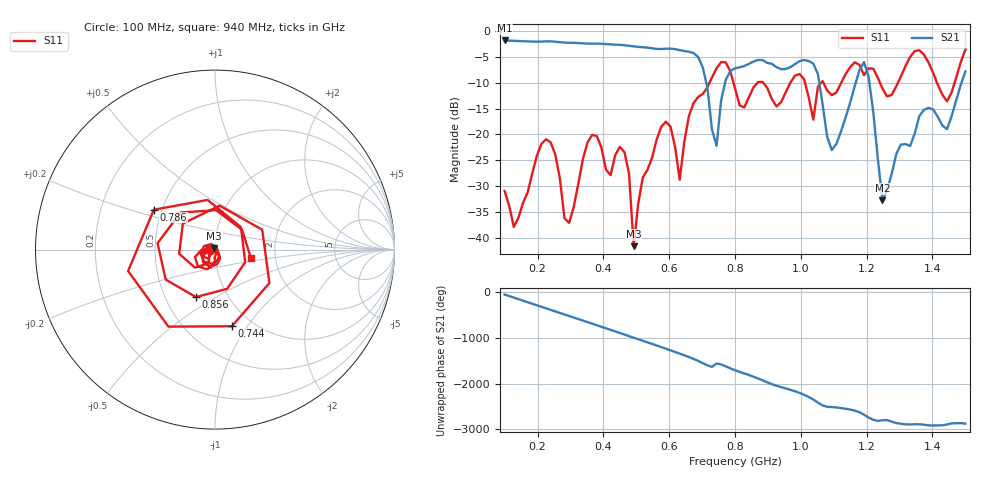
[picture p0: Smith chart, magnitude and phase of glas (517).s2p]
! NanoVNA-App
! Date: 2025-09-25 15:59:30
! Start: 100MHz Stop: 1,5GHz Points: 101
! S-Parameter data: F S11 S21 S12 S22
# Hz S RI R 50
!  Frequency  S11_Real  S11_Imag  S21_Real  S21_Imag  S12_Real  S12_Imag  S22_Real  S22_Imag
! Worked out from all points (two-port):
!   101 points, 100 MHz to 1.5 GHz, reference 50 ohm
!   highest |S21| = -1.80 dB at 100 MHz (marker M1); lowest = -32.8 dB at 1.248 GHz (marker M2)
!   |S21| within 3 dB of the highest: start of sweep to 684.3 MHz
!   lowest |S11| = -41.6 dB at 492 MHz (marker M3), VSWR 1.02, Z = 49.5 + j0.638 ohm
!   |S11| at or under -10 dB: start of sweep to 722.5 MHz; 795.4 MHz to 868.1 MHz (72.64 MHz wide, 8.73 % of centre); 885.9 MHz to 968 MHz (82.05 MHz wide, 8.85 % of centre) (the widest 3 of 7)
!   S12 and S22 are empty: the file has one direction only
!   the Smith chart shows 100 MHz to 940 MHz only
!   S11 on the Smith chart (normalised r, x): 100 MHz: 0.95, -0.01; 744 MHz: 0.81, -0.85; 786 MHz: 0.45, +0.24; 856 MHz: 0.71, -0.41; 940 MHz: 1.49, -0.14
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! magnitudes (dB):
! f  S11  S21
! 100 MHz  -30.9  -1.8
! 128 MHz  -37.9  -1.9
! 226 MHz  -20.9  -2.0
! 296 MHz  -37.1  -2.2
! 338 MHz  -24.7  -2.4
! 464 MHz  -23.4  -2.7
! 492 MHz  -41.6  -3.0
! 576 MHz  -18.5  -3.5
! 632 MHz  -28.8  -3.7
! 702 MHz  -12.2  -7.0
! 744 MHz  -7.2  -22.2
! 786 MHz  -7.8  -7.7
! 800 MHz  -11.1  -7.2
! 856 MHz  -10.9  -5.9
! 940 MHz  -13.8  -7.4
! 1.038 GHz  -17.1  -6.3
! 1.094 GHz  -12.4  -23.0
! 1.192 GHz  -8.5  -6.0
! 1.248 GHz  -11.1  -32.8
! 1.276 GHz  -12.3  -27.7
! 1.444 GHz  -13.6  -19.0
! 1.5 GHz  -3.6  -7.8
